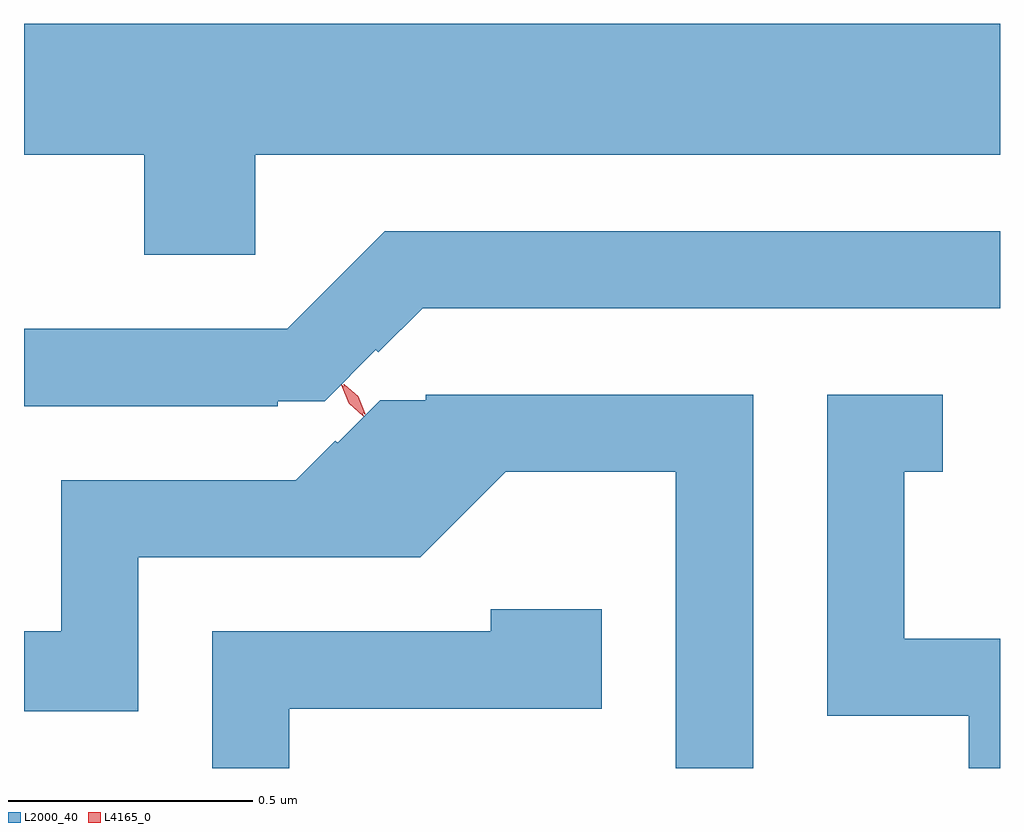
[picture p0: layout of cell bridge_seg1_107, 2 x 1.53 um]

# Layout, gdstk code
import gdstk
lib = gdstk.Library(unit=1e-6, precision=1e-09)
def P(c, l, *ps):  # polygons
    for p in ps: c.add(gdstk.Polygon(p, *l))
L2000_40 = (2000, 40)
L4165_0 = (4165, 0)

bridge_seg1_107 = lib.new_cell('bridge_seg1_107')
P(bridge_seg1_107, L2000_40, [(1468.439,855.176),(1469.965,855.176),(1469.965,855.444),(1467.965,855.444),(1467.965,855.176),(1468.211,855.176),(1468.211,854.971),(1468.439,854.971)],
  [(1468.485,854.671),(1468.581,854.671),(1468.686,854.776),(1468.691,854.771),(1468.782,854.861),(1469.965,854.861),(1469.965,855.019),(1468.704,855.019),(1468.504,854.819),(1467.965,854.819),(1467.965,854.661),(1468.485,854.661)],
  [(1469.459,854.684),(1468.788,854.684),(1468.788,854.673),(1468.695,854.673),(1468.608,854.586),(1468.603,854.59),(1468.522,854.509),(1468.041,854.509),(1468.041,854.199),(1467.965,854.199),(1467.965,854.036),(1468.199,854.036),(1468.199,854.351),(1468.777,854.351),(1468.952,854.526),(1469.301,854.526),(1469.301,853.919),(1469.459,853.919)],
  [(1469.965,854.184),(1469.769,854.184),(1469.769,854.526),(1469.848,854.526),(1469.848,854.684),(1469.611,854.684),(1469.611,854.026),(1469.901,854.026),(1469.901,853.919),(1469.965,853.919)],
  [(1468.509,854.041),(1469.149,854.041),(1469.149,854.244),(1468.921,854.244),(1468.921,854.199),(1468.351,854.199),(1468.351,853.919),(1468.509,853.919)])
P(bridge_seg1_107, L4165_0, [(1468.66,854.64),(1468.63,854.667),(1468.615,854.705),(1468.616,854.705),(1468.616,854.705),(1468.646,854.678),(1468.661,854.64),(1468.661,854.64)],
  [(1468.663,854.644),(1468.634,854.669),(1468.62,854.705),(1468.62,854.706),(1468.621,854.706),(1468.65,854.681),(1468.664,854.645),(1468.664,854.644)])

lib.write_gds('bridge_seg1_107.gds')
